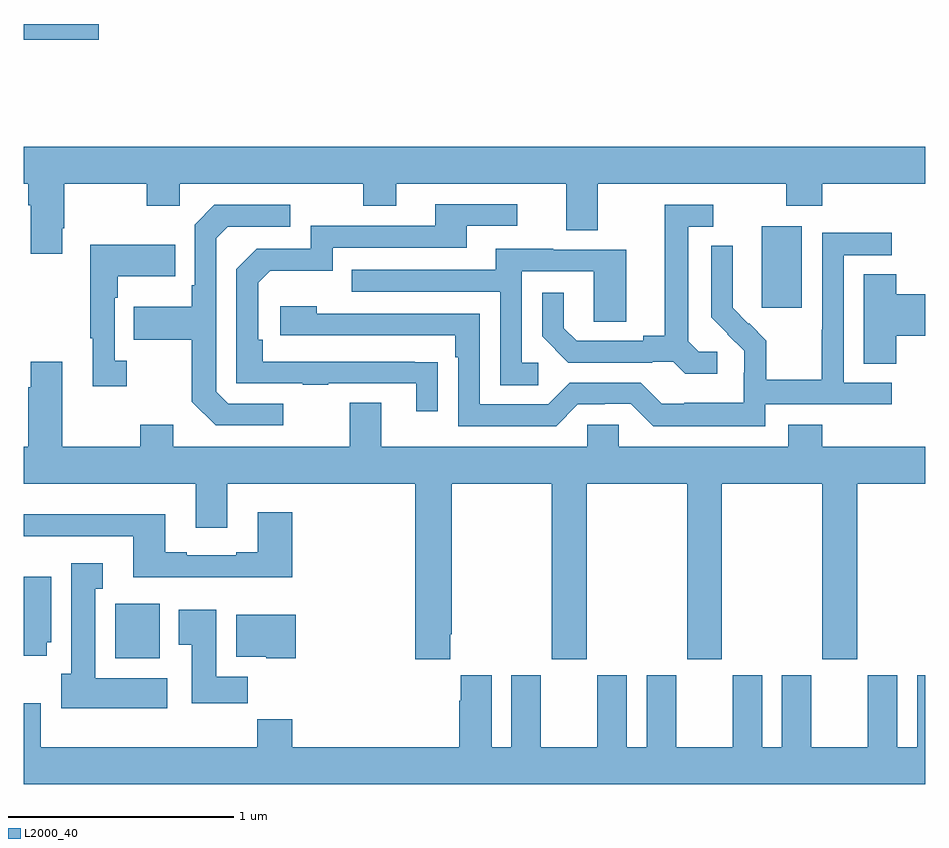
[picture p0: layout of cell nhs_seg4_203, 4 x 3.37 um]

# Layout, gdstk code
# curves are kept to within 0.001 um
import gdstk
lib = gdstk.Library(unit=1e-6, precision=1e-09)
def R(c, l, rs):  # rectangles x0, y0, x1, y1
    for r in rs: c.add(gdstk.rectangle(r[:2], r[2:], *l))
def P(c, l, *ps):  # polygons
    for p in ps: c.add(gdstk.Polygon(p, *l))
L2000_40 = (2000, 40)

nhs_seg4_203 = lib.new_cell('nhs_seg4_203')
R(nhs_seg4_203, L2000_40, [(121.406,756.086,121.603,756.328), (124.274,757.641,124.453,758.002), (121,758.83,121.333,758.9)])
P(nhs_seg4_203, L2000_40, [(121.171,757.993),(121.179,757.993),(121.179,758.192),(121.546,758.192),(121.546,758.093),(121.692,758.093),(121.692,758.192),(122.506,758.192),(122.506,758.093),(122.653,758.093),(122.653,758.192),(123.407,758.192),(123.407,757.984),(123.547,757.984),(123.547,758.192),(124.384,758.192),(124.384,758.093),(124.544,758.093),(124.544,758.192),(125,758.192),(125,758.356),(121,758.356),(121,758.192),(121.019,758.192),(121.019,758.096),(121.031,758.096),(121.031,757.881),(121.171,757.881)],
  [(122.837,757.4),(122.06,757.401),(122.06,757.498),(122.04,757.498),(122.04,757.752),(122.093,757.805),(122.37,757.805),(122.37,757.908),(122.965,757.908),(122.965,758.004),(123.19,758.004),(123.19,758.1),(122.825,758.1),(122.825,758.004),(122.274,758.004),(122.274,757.902),(122.034,757.902),(121.944,757.812),(121.944,757.305),(122.239,757.305),(122.239,757.3),(122.351,757.3),(122.351,757.305),(122.741,757.305),(122.741,757.182),(122.837,757.182)],
  [(122.152,757.215),(121.908,757.215),(121.854,757.269),(121.854,757.95),(121.905,758.001),(122.182,758.001),(122.182,758.097),(121.845,758.097),(121.758,758.01),(121.758,757.741),(121.746,757.741),(121.746,757.645),(121.489,757.645),(121.489,757.498),(121.746,757.498),(121.746,757.225),(121.851,757.119),(122.152,757.119)],
  [(124.078,757.446),(123.996,757.446),(123.949,757.493),(123.949,758.001),(124.06,758.001),(124.06,758.097),(123.845,758.097),(123.845,757.517),(123.749,757.517),(123.749,757.494),(123.454,757.494),(123.397,757.551),(123.397,757.708),(123.3,757.708),(123.3,757.514),(123.416,757.398),(123.788,757.398),(123.788,757.401),(123.882,757.401),(123.934,757.349),(124.078,757.349)],
  [(124.29,757.212),(124.852,757.212),(124.852,757.308),(124.638,757.308),(124.638,757.875),(124.852,757.875),(124.852,757.974),(124.542,757.974),(124.542,757.544),(124.54,757.544),(124.54,757.321),(124.295,757.321),(124.295,757.495),(124.218,757.572),(124.215,757.569),(124.145,757.64),(124.146,757.916),(124.05,757.916),(124.05,757.598),(124.196,757.45),(124.196,757.353),(124.194,757.353),(124.194,757.219),(123.931,757.219),(123.931,757.215),(123.831,757.215),(123.738,757.308),(123.423,757.308),(123.327,757.212),(123.024,757.212),(123.024,757.614),(122.3,757.614),(122.3,757.648),(122.139,757.648),(122.139,757.518),(122.915,757.518),(122.915,757.421),(122.928,757.421),(122.928,757.116),(123.363,757.116),(123.459,757.212),(123.578,757.212),(123.578,757.215),(123.693,757.215),(123.793,757.115),(124.29,757.115)],
  [(121.456,757.406),(121.404,757.406),(121.404,757.685),(121.417,757.685),(121.417,757.781),(121.673,757.781),(121.673,757.921),(121.296,757.921),(121.296,757.505),(121.307,757.505),(121.307,757.293),(121.456,757.293)],
  [(123.283,757.398),(123.21,757.398),(123.21,757.803),(123.528,757.803),(123.528,757.579),(123.673,757.579),(123.673,757.899),(123.349,757.899),(123.349,757.903),(123.095,757.903),(123.095,757.809),(122.455,757.809),(122.455,757.713),(123.114,757.713),(123.114,757.297),(123.283,757.297)],
  [(124.871,757.517),(125,757.517),(125,757.7),(124.871,757.7),(124.871,757.79),(124.727,757.79),(124.727,757.393),(124.871,757.393)],
  [(122.893,756.193),(122.898,756.193),(122.898,756.86),(123.343,756.86),(123.343,756.081),(123.498,756.081),(123.498,756.86),(123.943,756.86),(123.943,756.081),(124.098,756.081),(124.098,756.86),(124.543,756.86),(124.543,756.081),(124.698,756.081),(124.698,756.86),(125,756.86),(125,757.024),(124.544,757.024),(124.544,757.123),(124.391,757.123),(124.391,757.024),(123.639,757.024),(123.639,757.122),(123.501,757.122),(123.501,757.024),(122.587,757.024),(122.587,757.219),(122.447,757.219),(122.447,757.024),(121.663,757.024),(121.663,757.123),(121.516,757.123),(121.516,757.024),(121.171,757.024),(121.171,757.402),(121.031,757.402),(121.031,757.289),(121.019,757.289),(121.019,757.024),(121,757.024),(121,756.86),(121.763,756.86),(121.763,756.666),(121.903,756.666),(121.903,756.86),(122.738,756.86),(122.738,756.081),(122.893,756.081)],
  [(122.192,756.733),(122.039,756.733),(122.039,756.556),(121.943,756.556),(121.943,756.543),(121.723,756.543),(121.723,756.556),(121.627,756.556),(121.627,756.724),(121,756.724),(121,756.627),(121.487,756.627),(121.487,756.446),(122.192,756.446)],
  [(121.636,755.998),(121.318,755.998),(121.318,756.395),(121.351,756.395),(121.351,756.508),(121.211,756.508),(121.211,756.018),(121.166,756.018),(121.166,755.864),(121.636,755.864)],
  [(121.102,756.156),(121.123,756.156),(121.123,756.448),(121,756.448),(121,756.096),(121.102,756.096)],
  [(121.994,756.004),(121.855,756.004),(121.855,756.301),(121.688,756.301),(121.688,756.145),(121.745,756.145),(121.745,755.886),(121.994,755.886)],
  [(122.207,756.28),(121.943,756.28),(121.943,756.092),(122.076,756.092),(122.076,756.086),(122.207,756.086)],
  [(125,756.01),(124.964,756.01),(124.964,755.692),(124.876,755.692),(124.876,756.01),(124.745,756.01),(124.745,755.692),(124.495,755.692),(124.495,756.01),(124.364,756.01),(124.364,755.692),(124.276,755.692),(124.276,756.01),(124.145,756.01),(124.145,755.692),(123.895,755.692),(123.895,756.01),(123.764,756.01),(123.764,755.692),(123.676,755.692),(123.676,756.01),(123.545,756.01),(123.545,755.692),(123.295,755.692),(123.295,756.01),(123.164,756.01),(123.164,755.692),(123.076,755.692),(123.076,756.01),(122.939,756.01),(122.939,755.897),(122.933,755.897),(122.933,755.692),(122.192,755.692),(122.192,755.816),(122.035,755.816),(122.035,755.692),(121.075,755.692),(121.075,755.887),(121,755.887),(121,755.528),(125,755.528)])

lib.write_gds('nhs_seg4_203.gds')
